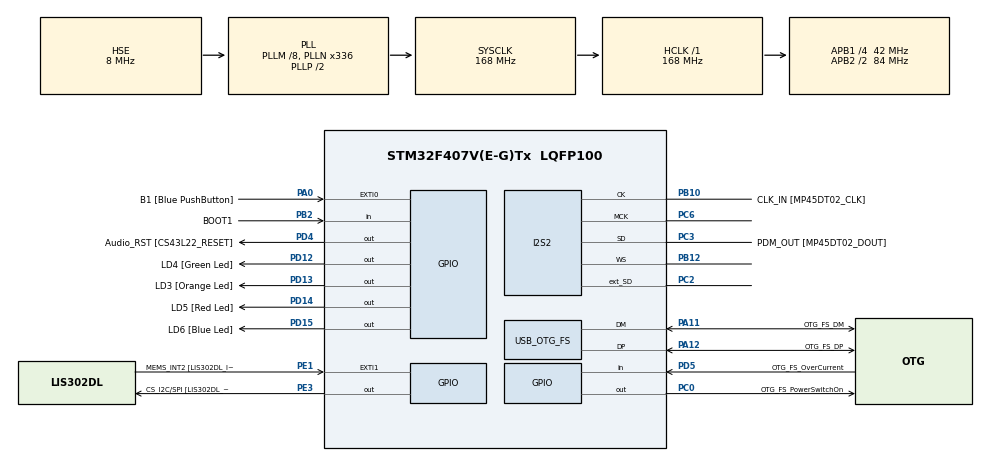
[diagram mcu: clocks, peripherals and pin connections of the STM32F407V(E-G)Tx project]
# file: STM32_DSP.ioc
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Dma.I2S2_EXT_RX.0.Direction=DMA_PERIPH_TO_MEMORY
Dma.I2S2_EXT_RX.0.FIFOMode=DMA_FIFOMODE_DISABLE
Dma.I2S2_EXT_RX.0.Instance=DMA1_Stream3
Dma.I2S2_EXT_RX.0.MemDataAlignment=DMA_MDATAALIGN_HALFWORD
Dma.I2S2_EXT_RX.0.MemInc=DMA_MINC_ENABLE
Dma.I2S2_EXT_RX.0.Mode=DMA_CIRCULAR
Dma.I2S2_EXT_RX.0.PeriphDataAlignment=DMA_PDATAALIGN_HALFWORD
Dma.I2S2_EXT_RX.0.PeriphInc=DMA_PINC_DISABLE
Dma.I2S2_EXT_RX.0.Priority=DMA_PRIORITY_HIGH
Dma.MEMTOMEM.2.Direction=DMA_MEMORY_TO_MEMORY
Dma.MEMTOMEM.2.FIFOMode=DMA_FIFOMODE_ENABLE
Dma.MEMTOMEM.2.FIFOThreshold=DMA_FIFO_THRESHOLD_FULL
Dma.MEMTOMEM.2.Instance=DMA2_Stream0
Dma.MEMTOMEM.2.MemBurst=DMA_MBURST_SINGLE
Dma.MEMTOMEM.2.MemDataAlignment=DMA_MDATAALIGN_BYTE
Dma.MEMTOMEM.2.MemInc=DMA_MINC_ENABLE
Dma.MEMTOMEM.2.Mode=DMA_NORMAL
Dma.MEMTOMEM.2.PeriphBurst=DMA_PBURST_SINGLE
Dma.MEMTOMEM.2.PeriphDataAlignment=DMA_PDATAALIGN_BYTE
Dma.MEMTOMEM.2.PeriphInc=DMA_PINC_ENABLE
Dma.MEMTOMEM.2.Priority=DMA_PRIORITY_LOW
Dma.Request0=I2S2_EXT_RX
Dma.Request1=SPI2_TX
Dma.Request2=MEMTOMEM
Dma.SPI2_TX.1.Direction=DMA_MEMORY_TO_PERIPH
Dma.SPI2_TX.1.FIFOMode=DMA_FIFOMODE_DISABLE
Dma.SPI2_TX.1.Instance=DMA1_Stream4
Dma.SPI2_TX.1.MemDataAlignment=DMA_MDATAALIGN_HALFWORD
Dma.SPI2_TX.1.MemInc=DMA_MINC_ENABLE
Dma.SPI2_TX.1.Mode=DMA_CIRCULAR
Dma.SPI2_TX.1.PeriphDataAlignment=DMA_PDATAALIGN_HALFWORD
Dma.SPI2_TX.1.PeriphInc=DMA_PINC_DISABLE
Dma.SPI2_TX.1.Priority=DMA_PRIORITY_HIGH
I2S2.AudioFreq=I2S_AUDIOFREQ_96K
I2S2.DataFormat=I2S_DATAFORMAT_24B
I2S2.ErrorAudioFreq=-2.34 %
I2S2.FullDuplexMode=I2S_FULLDUPLEXMODE_ENABLE
I2S2.Instance=SPI$Index
I2S2.RealAudioFreq=93.75 KHz
I2S2.VirtualMode=I2S_MODE_MASTER
Mcu.Family=STM32F4
Mcu.Name=STM32F407V(E-G)Tx
Mcu.Package=LQFP100
NVIC.DMA1_Stream3_IRQn=true\:0\:0\:false\:false\:true\:false\:true
NVIC.DMA1_Stream4_IRQn=true\:0\:0\:false\:false\:true\:false\:true
NVIC.OTG_FS_IRQn=true\:0\:0\:false\:false\:true\:true\:true
NVIC.PriorityGroup=NVIC_PRIORITYGROUP_0
PA0-WKUP.GPIO_Label=B1 [Blue PushButton]
PA0-WKUP.GPIO_ModeDefaultEXTI=GPIO_MODE_EVT_RISING
PA0-WKUP.GPIO_PuPd=GPIO_NOPULL
PA0-WKUP.Signal=GPXTI0
PA10.GPIO_Label=OTG_FS_ID
PA10.GPIO_Mode=GPIO_MODE_AF_PP
PA10.GPIO_PuPd=GPIO_NOPULL
PA10.GPIO_Speed=GPIO_SPEED_FREQ_LOW
PA10.Signal=USB_OTG_FS_ID
PA11.GPIO_Label=OTG_FS_DM
PA11.GPIO_Mode=GPIO_MODE_AF_PP
PA11.GPIO_PuPd=GPIO_NOPULL
PA11.GPIO_Speed=GPIO_SPEED_FREQ_LOW
PA11.Mode=Device_Only
PA11.Signal=USB_OTG_FS_DM
PA12.GPIO_Label=OTG_FS_DP
PA12.GPIO_Mode=GPIO_MODE_AF_PP
PA12.GPIO_PuPd=GPIO_NOPULL
PA12.GPIO_Speed=GPIO_SPEED_FREQ_LOW
PA12.Mode=Device_Only
PA12.Signal=USB_OTG_FS_DP
PA13.GPIO_Label=SWDIO
PA13.Mode=Serial_Wire
PA13.Signal=SYS_JTMS-SWDIO
PA14.GPIO_Label=SWCLK
PA14.Mode=Serial_Wire
PA14.Signal=SYS_JTCK-SWCLK
PA4.GPIO_Label=I2S3_WS [CS43L22_LRCK]
PA4.GPIO_Mode=GPIO_MODE_AF_PP
PA4.GPIO_PuPd=GPIO_NOPULL
PA4.GPIO_Speed=GPIO_SPEED_FREQ_LOW
PA4.Signal=I2S3_WS
PA5.GPIO_Label=SPI1_SCK [LIS302DL_SCL/SPC]
PA5.GPIO_Mode=GPIO_MODE_AF_PP
PA5.GPIO_PuPd=GPIO_NOPULL
PA5.GPIO_Speed=GPIO_SPEED_FREQ_LOW
PA5.Signal=SPI1_SCK
PA6.GPIO_Label=SPI1_MISO [LIS302DL_SDO]
PA6.GPIO_Mode=GPIO_MODE_AF_PP
PA6.GPIO_PuPd=GPIO_NOPULL
PA6.GPIO_Speed=GPIO_SPEED_FREQ_LOW
PA6.Signal=SPI1_MISO
PA7.GPIO_Label=SPI1_MOSI [LIS302DL_SDA/SDI/SDO]
PA7.GPIO_Mode=GPIO_MODE_AF_PP
PA7.GPIO_PuPd=GPIO_NOPULL
PA7.GPIO_Speed=GPIO_SPEED_FREQ_LOW
PA7.Signal=SPI1_MOSI
PA9.GPIO_Label=VBUS_FS
PA9.GPIO_Mode=GPIO_MODE_INPUT
PA9.GPIO_PuPd=GPIO_NOPULL
PA9.Signal=USB_OTG_FS_VBUS
PB10.GPIO_Label=CLK_IN [MP45DT02_CLK]
PB10.GPIO_Mode=GPIO_MODE_AF_PP
PB10.GPIO_PuPd=GPIO_NOPULL
PB10.GPIO_Speed=GPIO_SPEED_FREQ_LOW
PB10.Mode=Full_Duplex_Master
PB10.Signal=I2S2_CK
PB12.Mode=Full_Duplex_Master
PB12.Signal=I2S2_WS
PB2.GPIO_Label=BOOT1
PB2.GPIO_Mode=GPIO_MODE_INPUT
PB2.GPIO_PuPd=GPIO_NOPULL
PB2.Signal=GPIO_Input
PB3.GPIO_Label=SWO
PB3.Signal=SYS_JTDO-SWO
PB6.GPIO_Label=Audio_SCL [CS43L22_SCL]
PB6.GPIO_Mode=GPIO_MODE_AF_OD
PB6.GPIO_PuPd=GPIO_NOPULL
PB6.GPIO_Speed=GPIO_SPEED_FREQ_LOW
PB6.Signal=I2C1_SCL
PB9.GPIO_Label=Audio_SDA [CS43L22_SDA]
PB9.GPIO_Mode=GPIO_MODE_AF_OD
PB9.GPIO_PuPd=GPIO_NOPULL
PB9.GPIO_Speed=GPIO_SPEED_FREQ_LOW
PB9.Signal=I2C1_SDA
PC0.GPIO_Label=OTG_FS_PowerSwitchOn
PC0.GPIO_PuPd=GPIO_NOPULL
PC0.GPIO_Speed=GPIO_SPEED_FREQ_LOW
PC0.PinState=GPIO_PIN_SET
PC0.Signal=GPIO_Output
PC10.GPIO_Label=I2S3_SCK [CS43L22_SCLK]
PC10.GPIO_Mode=GPIO_MODE_AF_PP
PC10.GPIO_PuPd=GPIO_NOPULL
PC10.GPIO_Speed=GPIO_SPEED_FREQ_LOW
PC10.Signal=I2S3_CK
PC12.GPIO_Label=I2S3_SD [CS43L22_SDIN]
PC12.GPIO_Mode=GPIO_MODE_AF_PP
PC12.GPIO_PuPd=GPIO_NOPULL
PC12.GPIO_Speed=GPIO_SPEED_FREQ_LOW
PC12.Signal=I2S3_SD
PC14-OSC32_IN.GPIO_Label=PC14-OSC32_IN
PC14-OSC32_IN.Mode=LSE-External-Oscillator
PC14-OSC32_IN.Signal=RCC_OSC32_IN
PC15-OSC32_OUT.GPIO_Label=PC15-OSC32_OUT
PC15-OSC32_OUT.Mode=LSE-External-Oscillator
PC15-OSC32_OUT.Signal=RCC_OSC32_OUT
PC2.Mode=Full_Duplex_Master
PC2.Signal=I2S2_ext_SD
PC3.GPIO_Label=PDM_OUT [MP45DT02_DOUT]
PC3.GPIO_Mode=GPIO_MODE_AF_PP
PC3.GPIO_PuPd=GPIO_NOPULL
PC3.GPIO_Speed=GPIO_SPEED_FREQ_LOW
PC3.Mode=Full_Duplex_Master
PC3.Signal=I2S2_SD
PC6.Mode=Master_Clock_Activated
PC6.Signal=I2S2_MCK
PC7.GPIO_Label=I2S3_MCK [CS43L22_MCLK]
PC7.GPIO_Mode=GPIO_MODE_AF_PP
PC7.GPIO_PuPd=GPIO_NOPULL
PC7.GPIO_Speed=GPIO_SPEED_FREQ_LOW
PC7.Signal=I2S3_MCK
PD12.GPIO_Label=LD4 [Green Led]
PD12.GPIO_PuPd=GPIO_NOPULL
PD12.GPIO_Speed=GPIO_SPEED_FREQ_LOW
PD12.Signal=GPIO_Output
PD13.GPIO_Label=LD3 [Orange Led]
PD13.GPIO_PuPd=GPIO_NOPULL
PD13.GPIO_Speed=GPIO_SPEED_FREQ_LOW
PD13.Signal=GPIO_Output
PD14.GPIO_Label=LD5 [Red Led]
PD14.GPIO_PuPd=GPIO_NOPULL
PD14.GPIO_Speed=GPIO_SPEED_FREQ_LOW
PD14.Signal=GPIO_Output
PD15.GPIO_Label=LD6 [Blue Led]
PD15.GPIO_PuPd=GPIO_NOPULL
PD15.GPIO_Speed=GPIO_SPEED_FREQ_LOW
PD15.Signal=GPIO_Output
PD4.GPIO_Label=Audio_RST [CS43L22_RESET]
PD4.GPIO_PuPd=GPIO_NOPULL
PD4.GPIO_Speed=GPIO_SPEED_FREQ_LOW
PD4.Signal=GPIO_Output
PD5.GPIO_Label=OTG_FS_OverCurrent
PD5.GPIO_Mode=GPIO_MODE_INPUT
PD5.GPIO_PuPd=GPIO_NOPULL
PD5.Signal=GPIO_Input
PE1.GPIO_Label=MEMS_INT2 [LIS302DL_INT2]
PE1.GPIO_ModeDefaultEXTI=GPIO_MODE_EVT_RISING
PE1.GPIO_PuPd=GPIO_NOPULL
PE1.Signal=GPXTI1
PE3.GPIO_Label=CS_I2C/SPI [LIS302DL_CS_I2C/SPI]
PE3.GPIO_PuPd=GPIO_NOPULL
PE3.GPIO_Speed=GPIO_SPEED_FREQ_LOW
PE3.Signal=GPIO_Output
PH0-OSC_IN.GPIO_Label=PH0-OSC_IN
PH0-OSC_IN.Mode=HSE-External-Oscillator
PH0-OSC_IN.Signal=RCC_OSC_IN
PH1-OSC_OUT.GPIO_Label=PH1-OSC_OUT
PH1-OSC_OUT.Mode=HSE-External-Oscillator
PH1-OSC_OUT.Signal=RCC_OSC_OUT
ProjectManager.HeapSize=0x200
ProjectManager.StackSize=0x400
ProjectManager.TargetToolchain=STM32CubeIDE
RCC.48MHZClocksFreq_Value=48000000
RCC.AHBFreq_Value=168000000
RCC.APB1CLKDivider=RCC_HCLK_DIV4
RCC.APB1Freq_Value=42000000
RCC.APB1TimFreq_Value=84000000
RCC.APB2CLKDivider=RCC_HCLK_DIV2
RCC.APB2Freq_Value=84000000
RCC.APB2TimFreq_Value=168000000
RCC.CortexFreq_Value=168000000
RCC.HCLKFreq_Value=168000000
RCC.HSE_VALUE=8000000
RCC.HSI_VALUE=16000000
RCC.PLLM=8
RCC.PLLN=336
RCC.PLLQ=7
RCC.SYSCLKFreq_VALUE=168000000
RCC.SYSCLKSource=RCC_SYSCLKSOURCE_PLLCLK
RCC.VCOOutputFreq_Value=336000000
USB_DEVICE.CLASS_NAME_FS=CDC
USB_DEVICE.USBD_SELF_POWERED-CDC_FS=0
USB_DEVICE.VirtualMode-CDC_FS=Cdc
USB_DEVICE.VirtualModeFS=Cdc_FS
USB_OTG_FS.VirtualMode=Device_Only
VP_CRC_VS_CRC.Mode=CRC_Activate
VP_USB_DEVICE_VS_USB_DEVICE_CDC_FS.Mode=CDC_FS
board=STM32F407G-DISC1

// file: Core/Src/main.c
/* USER CODE BEGIN Header */
/**
 ******************************************************************************
 * @file           : main.c
 * @brief          : Main program body
 ******************************************************************************
 * @attention
 *
 * <h2><center>&copy; Copyright (c) 2020 STMicroelectronics.
 * All rights reserved.</center></h2>
 *
 * This software component is licensed by ST under Ultimate Liberty license
 * SLA0044, the "License"; You may not use this file except in compliance with
 * the License. You may obtain a copy of the License at:
 *                             www.st.com/SLA0044
 *
 ******************************************************************************
 */
/* USER CODE END Header */
#include "main.h"
#include "usb_device.h"

/* USER CODE BEGIN Includes */
#include "usbd_cdc_if.h"
#include <string.h>
//#include "stm32f4xx.h"
/* USER CODE END Includes */

/* USER CODE BEGIN PD */
#define I2S2_BUFLEN 16384
#define I2S3_BUFLEN (I2S2_BUFLEN/8)
#define BUFLEN    	(I2S2_BUFLEN/8) // sample
#define FREQ_SAMP	93750 // Hz
#define FIRQ31_NTAP	128
/* USER CODE END PD */

CRC_HandleTypeDef hcrc;

I2S_HandleTypeDef hi2s2;
DMA_HandleTypeDef hdma_i2s2_ext_rx;
DMA_HandleTypeDef hdma_spi2_tx;

DMA_HandleTypeDef hdma_memtomem_dma2_stream0;
/* USER CODE BEGIN PV */
extern volatile _Bool HOST_PORT_COM_OPEN;  	// Port COM fully connected
extern volatile _Bool CDC_RX_DATA_PENDING; 	// Data available from port COM
uint8_t I2S2_rxState;						// I2S2 rx CallBack state
uint8_t I2S2_txState;						// I2S2 tx CallBack state
enum I2S_state {Busy, HalfCplt, Cplt};		// I2S CallBack states definition
uint16_t I2S2_rxBuf[I2S2_BUFLEN]; 			// I2S2 rxBuffer for PmodI2S2
uint16_t I2S2_txBuf[I2S2_BUFLEN]; 			// I2S2 txBuffer for PmodI2S2
uint16_t *pI2S2_txBuf = I2S2_txBuf;			// |
uint16_t *pI2S2_rxBuf = I2S2_rxBuf;			// | automatic ptr for read and write functions
enum MainTask {WAIT, PROCESS, RECORD};		// Main task definition
/* USER CODE END PV */

void SystemClock_Config(void);
static void MX_GPIO_Init(void);
static void MX_DMA_Init(void);
static void MX_I2S2_Init(void);
static void MX_CRC_Init(void);

int main(void)
{
  /* USER CODE BEGIN 1 */
	uint8_t Task = WAIT;
	q31_t Lbuf[BUFLEN]; 					// Left channel
	q31_t Rbuf[BUFLEN]; 					// Right Channel
  // q31_t Mbuf[BUFLEN]; 					// Mono Channel
  // q31_t pState[FIRQ31_NTAP+BUFLEN-1];
  // const q31_t pCoeffs[FIRQ31_NTAP];
  // arm_fir_instance_q31 *FIR_q31;
  /* USER CODE END 1 */

  /* MCU Configuration--------------------------------------------------------*/

  /* Reset of all peripherals, Initializes the Flash interface and the Systick. */
  HAL_Init();

  /* Configure the system clock */
  SystemClock_Config();

  /* Initialize all configured peripherals */
  MX_GPIO_Init();
  MX_DMA_Init();
  MX_I2S2_Init();
  MX_USB_DEVICE_Init();
  MX_CRC_Init();
  /* USER CODE BEGIN 2 */
	char cmd[APP_RX_DATA_SIZE];
	HAL_Delay(1500);
	CDC_Clear();
	_printf("\r\n               ================");
	_printf("\r\n               *** DSP V1.0 ***");
	_printf("\r\n               ================\r\n\n");
	if(HAL_GPIO_ReadPin(GPIOD, GPIO_PIN_14) == GPIO_PIN_SET)
	{	_cprintf("/!\\ ERROR : Hardware initialization problem !\r\n");
	}else
	{	_cprintf("Hardware initialization done\r\n");
	}

	/* Start I2S communiation */
	if(HAL_I2SEx_TransmitReceive_DMA(&hi2s2, I2S2_txBuf, I2S2_rxBuf, I2S2_BUFLEN / 2) != HAL_OK)
	{	_cprintf("/!\\ ERROR : Unable to launch I2S DMA transfer !\r\n");
	}else
	{	_cprintf("I2S communication established\r\n");
	}

	/* Set serial interface to keyboard input mode */
	CDC_rxPrintf_ON();

	/* Initialize FIR  Filter */
 // arm_fir_init_q31(FIR_q31, FIRQ31_NTAP, pCoeffs, pState, BUFLEN);

  /* USER CODE END 2 */

  /* Infinite loop */
	while (1)
	{

    /* USER CODE BEGIN 3 */

		/* If command available from COM port */
		if (CDC_RX_DATA_PENDING)
		{
			/* Read command */
			_scanf("%s", cmd);
			CDC_RX_DATA_PENDING = FALSE;

			/* Execute command */
			if (!strcmp(cmd, "clear"))
			{	CDC_Clear();
			}
			else if((!strcmp(cmd, "q") || !strcmp(cmd, "Q")) && Task != WAIT)
			{
				Task = WAIT;
				_cprintf("Process stopped by user\r\n");
				CDC_rxPrintf_ON();
			}
			else if (!strcmp(cmd, "process") && Task != PROCESS)
			{
				Task = PROCESS;
				CDC_rxPrintf_OFF();
				_cprintf("Audio processing started\r\n");
				_cprintf("Processing, type \"q\" to stop\r\n");
			}
			else
			{
				_cprintf("/!\\ Unknown command \"%s\"\r\n", cmd);
			}
		}

		/* If serial COM port is not open process by default */
		if(!HOST_PORT_COM_OPEN)
		{	Task = PROCESS;
			CDC_rxPrintf_OFF();
		}

		/* Execute selected task */
		switch(Task)
		{
			case(PROCESS):
			{
				/* Read audio data */
				PMODI2S2_stereoRq31(Lbuf, Rbuf);

				/* Signal Processing */
				// arm_fir_q31(FIR_q31, L_Buf, L_Buf, BUFFER_LENGTH);

				/* Write audio data */
				PMODI2S2_stereoWq31(Lbuf, Rbuf);

				/* Toggle Led and update chrono on port COM */
				HAL_GPIO_TogglePin(GPIOD, GPIO_PIN_12);
				_cspin();
				break;
			}
			case(WAIT):
			{
				HAL_GPIO_WritePin(GPIOD, GPIO_PIN_12, GPIO_PIN_RESET);
				break;
			}
			default:
			{
				HAL_GPIO_WritePin(GPIOD, GPIO_PIN_12, GPIO_PIN_RESET);
				break;
			}
		}
	}
  /* USER CODE END 3 */
}

void SystemClock_Config(void)
{
  RCC_OscInitTypeDef RCC_OscInitStruct = {0};
  RCC_ClkInitTypeDef RCC_ClkInitStruct = {0};
  RCC_PeriphCLKInitTypeDef PeriphClkInitStruct = {0};

  /** Configure the main internal regulator output voltage
  */
  __HAL_RCC_PWR_CLK_ENABLE();
  __HAL_PWR_VOLTAGESCALING_CONFIG(PWR_REGULATOR_VOLTAGE_SCALE1);
  /** Initializes the RCC Oscillators according to the specified parameters
  * in the RCC_OscInitTypeDef structure.
  */
  RCC_OscInitStruct.OscillatorType = RCC_OSCILLATORTYPE_HSE;
  RCC_OscInitStruct.HSEState = RCC_HSE_ON;
  RCC_OscInitStruct.PLL.PLLState = RCC_PLL_ON;
  RCC_OscInitStruct.PLL.PLLSource = RCC_PLLSOURCE_HSE;
  RCC_OscInitStruct.PLL.PLLM = 8;
  RCC_OscInitStruct.PLL.PLLN = 336;
  RCC_OscInitStruct.PLL.PLLP = RCC_PLLP_DIV2;
  RCC_OscInitStruct.PLL.PLLQ = 7;
  if (HAL_RCC_OscConfig(&RCC_OscInitStruct) != HAL_OK)
  {
    Error_Handler();
  }
  /** Initializes the CPU, AHB and APB buses clocks
  */
  RCC_ClkInitStruct.ClockType = RCC_CLOCKTYPE_HCLK|RCC_CLOCKTYPE_SYSCLK
                              |RCC_CLOCKTYPE_PCLK1|RCC_CLOCKTYPE_PCLK2;
  RCC_ClkInitStruct.SYSCLKSource = RCC_SYSCLKSOURCE_PLLCLK;
  RCC_ClkInitStruct.AHBCLKDivider = RCC_SYSCLK_DIV1;
  RCC_ClkInitStruct.APB1CLKDivider = RCC_HCLK_DIV4;
  RCC_ClkInitStruct.APB2CLKDivider = RCC_HCLK_DIV2;

  if (HAL_RCC_ClockConfig(&RCC_ClkInitStruct, FLASH_LATENCY_5) != HAL_OK)
  {
    Error_Handler();
  }
  PeriphClkInitStruct.PeriphClockSelection = RCC_PERIPHCLK_I2S;
  PeriphClkInitStruct.PLLI2S.PLLI2SN = 192;
  PeriphClkInitStruct.PLLI2S.PLLI2SR = 2;
  if (HAL_RCCEx_PeriphCLKConfig(&PeriphClkInitStruct) != HAL_OK)
  {
    Error_Handler();
  }
}

static void MX_CRC_Init(void)
{

  hcrc.Instance = CRC;
  if (HAL_CRC_Init(&hcrc) != HAL_OK)
  {
    Error_Handler();
  }

}

static void MX_I2S2_Init(void)
{

  hi2s2.Instance = SPI2;
  hi2s2.Init.Mode = I2S_MODE_MASTER_TX;
  hi2s2.Init.Standard = I2S_STANDARD_PHILIPS;
  hi2s2.Init.DataFormat = I2S_DATAFORMAT_24B;
  hi2s2.Init.MCLKOutput = I2S_MCLKOUTPUT_ENABLE;
  hi2s2.Init.AudioFreq = I2S_AUDIOFREQ_96K;
  hi2s2.Init.CPOL = I2S_CPOL_LOW;
  hi2s2.Init.ClockSource = I2S_CLOCK_PLL;
  hi2s2.Init.FullDuplexMode = I2S_FULLDUPLEXMODE_ENABLE;
  if (HAL_I2S_Init(&hi2s2) != HAL_OK)
  {
    Error_Handler();
  }

}

static void MX_DMA_Init(void)
{

  /* DMA controller clock enable */
  __HAL_RCC_DMA1_CLK_ENABLE();
  __HAL_RCC_DMA2_CLK_ENABLE();

  /* Configure DMA request hdma_memtomem_dma2_stream0 on DMA2_Stream0 */
  hdma_memtomem_dma2_stream0.Instance = DMA2_Stream0;
  hdma_memtomem_dma2_stream0.Init.Channel = DMA_CHANNEL_0;
  hdma_memtomem_dma2_stream0.Init.Direction = DMA_MEMORY_TO_MEMORY;
  hdma_memtomem_dma2_stream0.Init.PeriphInc = DMA_PINC_ENABLE;
  hdma_memtomem_dma2_stream0.Init.MemInc = DMA_MINC_ENABLE;
  hdma_memtomem_dma2_stream0.Init.PeriphDataAlignment = DMA_PDATAALIGN_BYTE;
  hdma_memtomem_dma2_stream0.Init.MemDataAlignment = DMA_MDATAALIGN_BYTE;
  hdma_memtomem_dma2_stream0.Init.Mode = DMA_NORMAL;
  hdma_memtomem_dma2_stream0.Init.Priority = DMA_PRIORITY_LOW;
  hdma_memtomem_dma2_stream0.Init.FIFOMode = DMA_FIFOMODE_ENABLE;
  hdma_memtomem_dma2_stream0.Init.FIFOThreshold = DMA_FIFO_THRESHOLD_FULL;
  hdma_memtomem_dma2_stream0.Init.MemBurst = DMA_MBURST_SINGLE;
  hdma_memtomem_dma2_stream0.Init.PeriphBurst = DMA_PBURST_SINGLE;
  if (HAL_DMA_Init(&hdma_memtomem_dma2_stream0) != HAL_OK)
  {
    Error_Handler( );
  }

  /* DMA interrupt init */
  /* DMA1_Stream3_IRQn interrupt configuration */
  HAL_NVIC_SetPriority(DMA1_Stream3_IRQn, 0, 0);
  HAL_NVIC_EnableIRQ(DMA1_Stream3_IRQn);
  /* DMA1_Stream4_IRQn interrupt configuration */
  HAL_NVIC_SetPriority(DMA1_Stream4_IRQn, 0, 0);
  HAL_NVIC_EnableIRQ(DMA1_Stream4_IRQn);

}

static void MX_GPIO_Init(void)
{
  GPIO_InitTypeDef GPIO_InitStruct = {0};

  /* GPIO Ports Clock Enable */
  __HAL_RCC_GPIOE_CLK_ENABLE();
  __HAL_RCC_GPIOC_CLK_ENABLE();
  __HAL_RCC_GPIOH_CLK_ENABLE();
  __HAL_RCC_GPIOA_CLK_ENABLE();
  __HAL_RCC_GPIOB_CLK_ENABLE();
  __HAL_RCC_GPIOD_CLK_ENABLE();

  /*Configure GPIO pin Output Level */
  HAL_GPIO_WritePin(CS_I2C_SPI_GPIO_Port, CS_I2C_SPI_Pin, GPIO_PIN_RESET);

  /*Configure GPIO pin Output Level */
  HAL_GPIO_WritePin(OTG_FS_PowerSwitchOn_GPIO_Port, OTG_FS_PowerSwitchOn_Pin, GPIO_PIN_RESET);

  /*Configure GPIO pin Output Level */
  HAL_GPIO_WritePin(GPIOD, LD4_Pin|LD3_Pin|LD5_Pin|LD6_Pin
                          |Audio_RST_Pin, GPIO_PIN_RESET);

  /*Configure GPIO pin : CS_I2C_SPI_Pin */
  GPIO_InitStruct.Pin = CS_I2C_SPI_Pin;
  GPIO_InitStruct.Mode = GPIO_MODE_OUTPUT_PP;
  GPIO_InitStruct.Pull = GPIO_NOPULL;
  GPIO_InitStruct.Speed = GPIO_SPEED_FREQ_LOW;
  HAL_GPIO_Init(CS_I2C_SPI_GPIO_Port, &GPIO_InitStruct);

  /*Configure GPIO pin : OTG_FS_PowerSwitchOn_Pin */
  GPIO_InitStruct.Pin = OTG_FS_PowerSwitchOn_Pin;
  GPIO_InitStruct.Mode = GPIO_MODE_OUTPUT_PP;
  GPIO_InitStruct.Pull = GPIO_NOPULL;
  GPIO_InitStruct.Speed = GPIO_SPEED_FREQ_LOW;
  HAL_GPIO_Init(OTG_FS_PowerSwitchOn_GPIO_Port, &GPIO_InitStruct);

  /*Configure GPIO pin : B1_Pin */
  GPIO_InitStruct.Pin = B1_Pin;
  GPIO_InitStruct.Mode = GPIO_MODE_EVT_RISING;
  GPIO_InitStruct.Pull = GPIO_NOPULL;
  HAL_GPIO_Init(B1_GPIO_Port, &GPIO_InitStruct);

  /*Configure GPIO pin : I2S3_WS_Pin */
  GPIO_InitStruct.Pin = I2S3_WS_Pin;
  GPIO_InitStruct.Mode = GPIO_MODE_AF_PP;
  GPIO_InitStruct.Pull = GPIO_NOPULL;
  GPIO_InitStruct.Speed = GPIO_SPEED_FREQ_LOW;
  GPIO_InitStruct.Alternate = GPIO_AF6_SPI3;
  HAL_GPIO_Init(I2S3_WS_GPIO_Port, &GPIO_InitStruct);

  /*Configure GPIO pins : SPI1_SCK_Pin SPI1_MISO_Pin SPI1_MOSI_Pin */
  GPIO_InitStruct.Pin = SPI1_SCK_Pin|SPI1_MISO_Pin|SPI1_MOSI_Pin;
  GPIO_InitStruct.Mode = GPIO_MODE_AF_PP;
  GPIO_InitStruct.Pull = GPIO_NOPULL;
  GPIO_InitStruct.Speed = GPIO_SPEED_FREQ_LOW;
  GPIO_InitStruct.Alternate = GPIO_AF5_SPI1;
  HAL_GPIO_Init(GPIOA, &GPIO_InitStruct);

  /*Configure GPIO pin : BOOT1_Pin */
  GPIO_InitStruct.Pin = BOOT1_Pin;
  GPIO_InitStruct.Mode = GPIO_MODE_INPUT;
  GPIO_InitStruct.Pull = GPIO_NOPULL;
  HAL_GPIO_Init(BOOT1_GPIO_Port, &GPIO_InitStruct);

  /*Configure GPIO pins : LD4_Pin LD3_Pin LD5_Pin LD6_Pin
                           Audio_RST_Pin */
  GPIO_InitStruct.Pin = LD4_Pin|LD3_Pin|LD5_Pin|LD6_Pin
                          |Audio_RST_Pin;
  GPIO_InitStruct.Mode = GPIO_MODE_OUTPUT_PP;
  GPIO_InitStruct.Pull = GPIO_NOPULL;
  GPIO_InitStruct.Speed = GPIO_SPEED_FREQ_LOW;
  HAL_GPIO_Init(GPIOD, &GPIO_InitStruct);

  /*Configure GPIO pins : I2S3_MCK_Pin I2S3_SCK_Pin I2S3_SD_Pin */
  GPIO_InitStruct.Pin = I2S3_MCK_Pin|I2S3_SCK_Pin|I2S3_SD_Pin;
  GPIO_InitStruct.Mode = GPIO_MODE_AF_PP;
  GPIO_InitStruct.Pull = GPIO_NOPULL;
  GPIO_InitStruct.Speed = GPIO_SPEED_FREQ_LOW;
  GPIO_InitStruct.Alternate = GPIO_AF6_SPI3;
  HAL_GPIO_Init(GPIOC, &GPIO_InitStruct);

  /*Configure GPIO pin : OTG_FS_OverCurrent_Pin */
  GPIO_InitStruct.Pin = OTG_FS_OverCurrent_Pin;
  GPIO_InitStruct.Mode = GPIO_MODE_INPUT;
  GPIO_InitStruct.Pull = GPIO_NOPULL;
  HAL_GPIO_Init(OTG_FS_OverCurrent_GPIO_Port, &GPIO_InitStruct);

  /*Configure GPIO pins : Audio_SCL_Pin Audio_SDA_Pin */
  GPIO_InitStruct.Pin = Audio_SCL_Pin|Audio_SDA_Pin;
  GPIO_InitStruct.Mode = GPIO_MODE_AF_OD;
  GPIO_InitStruct.Pull = GPIO_PULLUP;
  GPIO_InitStruct.Speed = GPIO_SPEED_FREQ_LOW;
  GPIO_InitStruct.Alternate = GPIO_AF4_I2C1;
  HAL_GPIO_Init(GPIOB, &GPIO_InitStruct);

  /*Configure GPIO pin : MEMS_INT2_Pin */
  GPIO_InitStruct.Pin = MEMS_INT2_Pin;
  GPIO_InitStruct.Mode = GPIO_MODE_EVT_RISING;
  GPIO_InitStruct.Pull = GPIO_NOPULL;
  HAL_GPIO_Init(MEMS_INT2_GPIO_Port, &GPIO_InitStruct);

}

/* USER CODE BEGIN 4 */

void HAL_I2SEx_TxRxHalfCpltCallback(I2S_HandleTypeDef *hi2s)
{
	pI2S2_txBuf = &I2S2_txBuf[0];
	pI2S2_rxBuf = &I2S2_rxBuf[0];
	I2S2_rxState = HalfCplt;
	I2S2_txState = HalfCplt;
}

void HAL_I2SEx_TxRxCpltCallback(I2S_HandleTypeDef *hi2s)
{
	pI2S2_txBuf = &I2S2_txBuf[I2S2_BUFLEN/2];
	pI2S2_rxBuf = &I2S2_rxBuf[I2S2_BUFLEN/2];
	I2S2_rxState = Cplt;
	I2S2_txState = Cplt;
}

void PMODI2S2_stereoRq31(q31_t *Lbuf, q31_t *Rbuf)
{
	while(I2S2_rxState == Busy)
	{
	}
	I2S2_rxState = Busy;
	for (uint16_t i = 0; i + 3 < I2S2_BUFLEN/2; i += 4)
	{
		Lbuf[i / 4] = (q31_t) ((pI2S2_rxBuf[i]     << 16) | pI2S2_rxBuf[i + 1]);
		Rbuf[i / 4] = (q31_t) ((pI2S2_rxBuf[i + 2] << 16) | pI2S2_rxBuf[i + 3]);
	}
}

void PMODI2S2_stereoWq31(q31_t *Lbuf, q31_t *Rbuf)
{
	while(I2S2_txState == Busy)
	{
	}
	I2S2_txState = Busy;
	for (uint16_t i = 0; i + 3 < I2S2_BUFLEN/2; i += 4)
	{
		pI2S2_txBuf[i]     = (Lbuf[i / 4] >> 16) & 0xFFFF;
		pI2S2_txBuf[i + 1] =  Lbuf[i / 4] & 0xFFFF;
		pI2S2_txBuf[i + 2] = (Rbuf[i / 4] >> 16) & 0xFFFF;
		pI2S2_txBuf[i + 3] =  Rbuf[i / 4] & 0xFFFF;
	}
}

/* USER CODE END 4 */

void Error_Handler(void)
{
  /* USER CODE BEGIN Error_Handler_Debug */
	/* User can add his own implementation to report the HAL error return state */
	HAL_GPIO_WritePin(GPIOD, GPIO_PIN_14, GPIO_PIN_SET);
	_cprintf("/!\\ FATAL ERROR !");
  /* USER CODE END Error_Handler_Debug */
}

/************************ (C) COPYRIGHT STMicroelectronics *****END OF FILE****/
